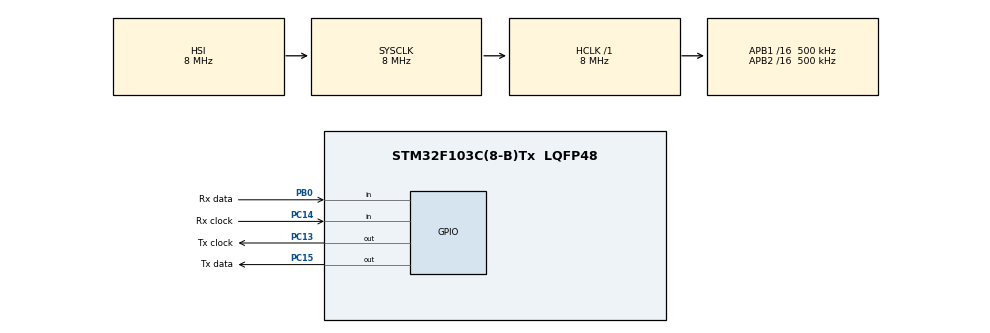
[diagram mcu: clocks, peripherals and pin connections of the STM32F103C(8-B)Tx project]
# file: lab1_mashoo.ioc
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Mcu.Family=STM32F1
Mcu.Name=STM32F103C(8-B)Tx
Mcu.Package=LQFP48
NVIC.PriorityGroup=NVIC_PRIORITYGROUP_4
NVIC.TIM2_IRQn=true\:0\:0\:false\:true\:true\:1\:true
PA13.Mode=Serial_Wire
PA13.Signal=SYS_JTMS-SWDIO
PA14.Mode=Serial_Wire
PA14.Signal=SYS_JTCK-SWCLK
PB0.GPIO_Label=Rx data
PB0.GPIO_PuPd=GPIO_PULLDOWN
PB0.Signal=GPIO_Input
PC13-TAMPER-RTC.GPIO_Label=Tx clock
PC13-TAMPER-RTC.GPIO_PuPd=GPIO_NOPULL
PC13-TAMPER-RTC.Signal=GPIO_Output
PC14-OSC32_IN.GPIO_Label=Rx clock
PC14-OSC32_IN.GPIO_PuPd=GPIO_PULLDOWN
PC14-OSC32_IN.Signal=GPIO_Input
PC15-OSC32_OUT.GPIO_Label=Tx data
PC15-OSC32_OUT.Signal=GPIO_Output
ProjectManager.HeapSize=0x200
ProjectManager.StackSize=0x400
ProjectManager.TargetToolchain=MDK-ARM V5
RCC.AHBFreq_Value=8000000
RCC.APB1CLKDivider=RCC_HCLK_DIV16
RCC.APB1Freq_Value=500000
RCC.APB1TimFreq_Value=1000000
RCC.APB2CLKDivider=RCC_HCLK_DIV16
RCC.APB2Freq_Value=500000
RCC.APB2TimFreq_Value=1000000
RCC.HCLKFreq_Value=8000000
RCC.SYSCLKFreq_VALUE=8000000
RCC.USBFreq_Value=8000000
TIM2.AutoReloadPreload=TIM_AUTORELOAD_PRELOAD_ENABLE
TIM2.ClockDivision=TIM_CLOCKDIVISION_DIV1
TIM2.Period=1
TIM2.Prescaler=19999
VP_TIM2_VS_ClockSourceINT.Mode=Internal
board=custom

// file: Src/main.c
/**
  ******************************************************************************
  * @file           : main.c
  * @brief          : Main program body
  ******************************************************************************
  ** This notice applies to any and all portions of this file
  * that are not between comment pairs USER CODE BEGIN and
  * USER CODE END. Other portions of this file, whether
  * inserted by the user or by software development tools
  * are owned by their respective copyright owners.
  *
  * COPYRIGHT(c) 2020 STMicroelectronics
  *
  * Redistribution and use in source and binary forms, with or without modification,
  * are permitted provided that the following conditions are met:
  *   1. Redistributions of source code must retain the above copyright notice,
  *      this list of conditions and the following disclaimer.
  *   2. Redistributions in binary form must reproduce the above copyright notice,
  *      this list of conditions and the following disclaimer in the documentation
  *      and/or other materials provided with the distribution.
  *   3. Neither the name of STMicroelectronics nor the names of its contributors
  *      may be used to endorse or promote products derived from this software
  *      without specific prior written permission.
  *
  * THIS SOFTWARE IS PROVIDED BY THE COPYRIGHT HOLDERS AND CONTRIBUTORS "AS IS"
  * AND ANY EXPRESS OR IMPLIED WARRANTIES, INCLUDING, BUT NOT LIMITED TO, THE
  * IMPLIED WARRANTIES OF MERCHANTABILITY AND FITNESS FOR A PARTICULAR PURPOSE ARE
  * DISCLAIMED. IN NO EVENT SHALL THE COPYRIGHT HOLDER OR CONTRIBUTORS BE LIABLE
  * FOR ANY DIRECT, INDIRECT, INCIDENTAL, SPECIAL, EXEMPLARY, OR CONSEQUENTIAL
  * DAMAGES (INCLUDING, BUT NOT LIMITED TO, PROCUREMENT OF SUBSTITUTE GOODS OR
  * SERVICES; LOSS OF USE, DATA, OR PROFITS; OR BUSINESS INTERRUPTION) HOWEVER
  * CAUSED AND ON ANY THEORY OF LIABILITY, WHETHER IN CONTRACT, STRICT LIABILITY,
  * OR TORT (INCLUDING NEGLIGENCE OR OTHERWISE) ARISING IN ANY WAY OUT OF THE USE
  * OF THIS SOFTWARE, EVEN IF ADVISED OF THE POSSIBILITY OF SUCH DAMAGE.
  *
  ******************************************************************************
  */
#include "main.h"
#include "stm32f1xx_hal.h"

/* USER CODE BEGIN Includes */
//#define OUTPUT_DATA 201
#define DELAY_MAX 10000
#define MASK_MAX 256
#define BYTE_COUNT 8
#define ARR_SIZE 5

/* USER CODE END Includes */

TIM_HandleTypeDef htim2;

/* USER CODE BEGIN PV */
/* Private variables ---------------------------------------------------------*/
const uint8_t arr[] = {201, 150, 240, 222, 189};
uint8_t phy_to_dll_rx_bus;
uint8_t phy_to_dll_rx_bus_valid = 0;
uint8_t dll_to_phy_tx_bus;
uint8_t dll_to_phy_tx_bus_valid = 0;
uint8_t phy_tx_busy = 0;
static uint32_t phy_tx_data_value = 0;
static uint32_t phy_rx_data_value = 0;
static uint32_t tx_clock = 0;
static uint32_t phy_rx_clock = 0;
uint32_t prev_tx_clock = 0;
uint32_t prev_rx_clock = 0;
uint8_t output_data = 0;
/* USER CODE END PV */

void SystemClock_Config(void);
static void MX_GPIO_Init(void);
static void MX_TIM2_Init(void);
static void MX_NVIC_Init(void);

/* USER CODE BEGIN PFP */
/* Private function prototypes -----------------------------------------------*/

/* USER CODE END PFP */

/* USER CODE BEGIN 0 */

void dll_TX()
{
	static int delay = 0;
	static int index = 0;
	if(!phy_tx_busy && !dll_to_phy_tx_bus_valid)
	{
		if(delay == 0)
		{
			dll_to_phy_tx_bus = arr[index];
			dll_to_phy_tx_bus_valid=1;
		  delay = DELAY_MAX;
			index++;
		}
		else
		{
			delay--;
		}
		index = (index == ARR_SIZE) ? 0:index;
	}

}

/*
The funcion receives data from dll_tx to send, than sends it over the communication line
every time tx_clock is in rising edge.
In order to send the data the function starts a clock, than stops it in the end of the transfer.
*/
void phy_TX()
{
	uint8_t masked_bit = 0;
	static uint8_t data_to_send = 0;
	static uint16_t mask = 1;

	if(dll_to_phy_tx_bus_valid)//dll tranfered new data to send
	{
		data_to_send = dll_to_phy_tx_bus;
		dll_to_phy_tx_bus_valid = 0;
		phy_tx_busy = 1;
		HAL_TIM_Base_Start(&htim2);
		HAL_TIM_Base_Start_IT(&htim2);
	}
	else if(!prev_tx_clock && tx_clock && mask <= MASK_MAX)//sending data
	{
		masked_bit = (dll_to_phy_tx_bus)&(mask);
		if(masked_bit == mask)
		{
			HAL_GPIO_WritePin(Tx_data_GPIO_Port, Tx_data_Pin, GPIO_PIN_SET);
			phy_tx_data_value = 1;
		}
		else
		{
			HAL_GPIO_WritePin(Tx_data_GPIO_Port, Tx_data_Pin, GPIO_PIN_RESET);
			phy_tx_data_value = 0;
		}
		mask *= 2;
	}
	else if(mask > MASK_MAX)//sent the whole byte
	{
		HAL_TIM_Base_Stop(&htim2);
		HAL_TIM_Base_Stop_IT(&htim2);
		HAL_GPIO_WritePin(Tx_clock_GPIO_Port,Tx_clock_Pin, GPIO_PIN_RESET);//set clock to 0
		phy_tx_busy = 0;
		mask = 1;
	}
}

/*
The function receives a bit from the communication line every time the rx_clock is in falling edge.
After reeiving 8 bits the function transfers the data to the dll_rx.
*/
void phy_RX()
{
	uint8_t input = 0;
	static uint8_t counter = 0;
	static uint8_t data_input = 0;

	if(!phy_rx_clock && prev_rx_clock && !phy_to_dll_rx_bus_valid)
	{
		input = phy_rx_data_value = HAL_GPIO_ReadPin(Rx_data_GPIO_Port, Rx_data_Pin);
		data_input += input << counter;//assemble the input data
		counter++;
	}
	if(counter == BYTE_COUNT)//received a byte
	{
		phy_to_dll_rx_bus_valid = 1;
		counter = 0;
		data_input = 0;
		phy_to_dll_rx_bus = data_input;
	}
}

void dll_RX()
{
	uint32_t input_data;
	if(phy_to_dll_rx_bus_valid)
	{
		input_data = phy_to_dll_rx_bus;
		phy_to_dll_rx_bus_valid = 0;
	}
}

void dll_layer()
{
	dll_TX();
	dll_RX();
}

void phy_layer()
{
	phy_TX();
	phy_RX();
}

/*
THe function samples the tx and rx clocks
*/
void sampleClocks()
{
	prev_tx_clock = tx_clock;
	prev_rx_clock = phy_rx_clock;
	tx_clock = HAL_GPIO_ReadPin(Tx_clock_GPIO_Port,Tx_clock_Pin);
	phy_rx_clock = HAL_GPIO_ReadPin(Rx_clock_GPIO_Port,Rx_clock_Pin);
}

/* USER CODE END 0 */

int main(void)
{

  /* MCU Configuration----------------------------------------------------------*/

  /* Reset of all peripherals, Initializes the Flash interface and the Systick. */
  HAL_Init();

  /* Configure the system clock */
  SystemClock_Config();

  /* Initialize all configured peripherals */
  MX_GPIO_Init();
  MX_TIM2_Init();

  /* Initialize interrupts */
  MX_NVIC_Init();
  /* USER CODE BEGIN 2 */
	HAL_GPIO_WritePin(Tx_clock_GPIO_Port,Tx_clock_Pin, GPIO_PIN_RESET);//set clock to 0
	tx_clock = 0;
	phy_rx_clock = 0;
  /* USER CODE END 2 */

  /* Infinite loop */
  /* USER CODE BEGIN WHILE */
  while (1)
  {
		dll_layer();
		phy_layer();
		sampleClocks();
  /* USER CODE END WHILE */

  }

}

void SystemClock_Config(void)
{

  RCC_OscInitTypeDef RCC_OscInitStruct;
  RCC_ClkInitTypeDef RCC_ClkInitStruct;

    /**Initializes the CPU, AHB and APB busses clocks
    */
  RCC_OscInitStruct.OscillatorType = RCC_OSCILLATORTYPE_HSI;
  RCC_OscInitStruct.HSIState = RCC_HSI_ON;
  RCC_OscInitStruct.HSICalibrationValue = 16;
  RCC_OscInitStruct.PLL.PLLState = RCC_PLL_NONE;
  if (HAL_RCC_OscConfig(&RCC_OscInitStruct) != HAL_OK)
  {
    _Error_Handler(__FILE__, __LINE__);
  }

    /**Initializes the CPU, AHB and APB busses clocks
    */
  RCC_ClkInitStruct.ClockType = RCC_CLOCKTYPE_HCLK|RCC_CLOCKTYPE_SYSCLK
                              |RCC_CLOCKTYPE_PCLK1|RCC_CLOCKTYPE_PCLK2;
  RCC_ClkInitStruct.SYSCLKSource = RCC_SYSCLKSOURCE_HSI;
  RCC_ClkInitStruct.AHBCLKDivider = RCC_SYSCLK_DIV1;
  RCC_ClkInitStruct.APB1CLKDivider = RCC_HCLK_DIV16;
  RCC_ClkInitStruct.APB2CLKDivider = RCC_HCLK_DIV16;

  if (HAL_RCC_ClockConfig(&RCC_ClkInitStruct, FLASH_LATENCY_0) != HAL_OK)
  {
    _Error_Handler(__FILE__, __LINE__);
  }

    /**Configure the Systick interrupt time
    */
  HAL_SYSTICK_Config(HAL_RCC_GetHCLKFreq()/1000);

    /**Configure the Systick
    */
  HAL_SYSTICK_CLKSourceConfig(SYSTICK_CLKSOURCE_HCLK);

  /* SysTick_IRQn interrupt configuration */
  HAL_NVIC_SetPriority(SysTick_IRQn, 0, 0);
}

/**
  * @brief NVIC Configuration.
  * @retval None
  */
static void MX_NVIC_Init(void)
{
  /* TIM2_IRQn interrupt configuration */
  HAL_NVIC_SetPriority(TIM2_IRQn, 0, 0);
  HAL_NVIC_EnableIRQ(TIM2_IRQn);
}

/* TIM2 init function */
static void MX_TIM2_Init(void)
{

  TIM_ClockConfigTypeDef sClockSourceConfig;
  TIM_MasterConfigTypeDef sMasterConfig;

  htim2.Instance = TIM2;
  htim2.Init.Prescaler = 19999;
  htim2.Init.CounterMode = TIM_COUNTERMODE_UP;
  htim2.Init.Period = 1;
  htim2.Init.ClockDivision = TIM_CLOCKDIVISION_DIV1;
  htim2.Init.AutoReloadPreload = TIM_AUTORELOAD_PRELOAD_ENABLE;
  if (HAL_TIM_Base_Init(&htim2) != HAL_OK)
  {
    _Error_Handler(__FILE__, __LINE__);
  }

  sClockSourceConfig.ClockSource = TIM_CLOCKSOURCE_INTERNAL;
  if (HAL_TIM_ConfigClockSource(&htim2, &sClockSourceConfig) != HAL_OK)
  {
    _Error_Handler(__FILE__, __LINE__);
  }

  sMasterConfig.MasterOutputTrigger = TIM_TRGO_RESET;
  sMasterConfig.MasterSlaveMode = TIM_MASTERSLAVEMODE_DISABLE;
  if (HAL_TIMEx_MasterConfigSynchronization(&htim2, &sMasterConfig) != HAL_OK)
  {
    _Error_Handler(__FILE__, __LINE__);
  }

}

/** Configure pins as
        * Analog
        * Input
        * Output
        * EVENT_OUT
        * EXTI
*/
static void MX_GPIO_Init(void)
{

  GPIO_InitTypeDef GPIO_InitStruct;

  /* GPIO Ports Clock Enable */
  __HAL_RCC_GPIOC_CLK_ENABLE();
  __HAL_RCC_GPIOB_CLK_ENABLE();
  __HAL_RCC_GPIOA_CLK_ENABLE();

  /*Configure GPIO pin Output Level */
  HAL_GPIO_WritePin(GPIOC, Tx_clock_Pin|Tx_data_Pin, GPIO_PIN_RESET);

  /*Configure GPIO pins : Tx_clock_Pin Tx_data_Pin */
  GPIO_InitStruct.Pin = Tx_clock_Pin|Tx_data_Pin;
  GPIO_InitStruct.Mode = GPIO_MODE_OUTPUT_PP;
  GPIO_InitStruct.Pull = GPIO_NOPULL;
  GPIO_InitStruct.Speed = GPIO_SPEED_FREQ_LOW;
  HAL_GPIO_Init(GPIOC, &GPIO_InitStruct);

  /*Configure GPIO pin : Rx_clock_Pin */
  GPIO_InitStruct.Pin = Rx_clock_Pin;
  GPIO_InitStruct.Mode = GPIO_MODE_INPUT;
  GPIO_InitStruct.Pull = GPIO_PULLDOWN;
  HAL_GPIO_Init(Rx_clock_GPIO_Port, &GPIO_InitStruct);

  /*Configure GPIO pin : Rx_data_Pin */
  GPIO_InitStruct.Pin = Rx_data_Pin;
  GPIO_InitStruct.Mode = GPIO_MODE_INPUT;
  GPIO_InitStruct.Pull = GPIO_PULLDOWN;
  HAL_GPIO_Init(Rx_data_GPIO_Port, &GPIO_InitStruct);

}

void _Error_Handler(char *file, int line)
{
  while(1)
  {
  }
}

/************************ (C) COPYRIGHT STMicroelectronics *****END OF FILE****/
